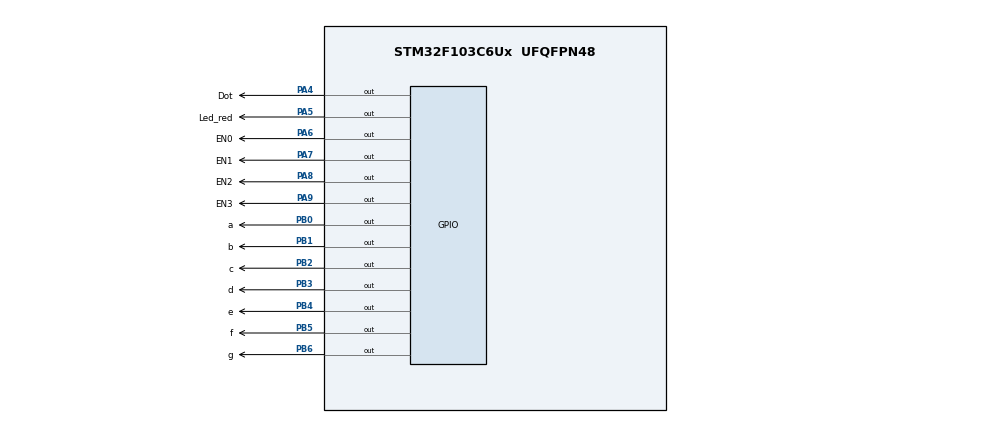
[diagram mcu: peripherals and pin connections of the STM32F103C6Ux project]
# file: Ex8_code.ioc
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Mcu.Family=STM32F1
Mcu.Name=STM32F103C6Ux
Mcu.Package=UFQFPN48
NVIC.PriorityGroup=NVIC_PRIORITYGROUP_4
NVIC.TIM2_IRQn=true\:0\:0\:false\:false\:true\:true\:true
PA4.GPIO_Label=Dot
PA4.Signal=GPIO_Output
PA5.GPIO_Label=Led_red
PA5.Signal=GPIO_Output
PA6.GPIO_Label=EN0
PA6.Signal=GPIO_Output
PA7.GPIO_Label=EN1
PA7.Signal=GPIO_Output
PA8.GPIO_Label=EN2
PA8.Signal=GPIO_Output
PA9.GPIO_Label=EN3
PA9.Signal=GPIO_Output
PB0.GPIO_Label=a
PB0.Signal=GPIO_Output
PB1.GPIO_Label=b
PB1.Signal=GPIO_Output
PB2.GPIO_Label=c
PB2.Signal=GPIO_Output
PB3.GPIO_Label=d
PB3.Signal=GPIO_Output
PB4.GPIO_Label=e
PB4.Signal=GPIO_Output
PB5.GPIO_Label=f
PB5.Signal=GPIO_Output
PB6.GPIO_Label=g
PB6.Signal=GPIO_Output
ProjectManager.HeapSize=0x200
ProjectManager.StackSize=0x400
ProjectManager.TargetToolchain=STM32CubeIDE
RCC.APB1Freq_Value=8000000
RCC.APB2Freq_Value=8000000
TIM2.Prescaler=7999
VP_SYS_VS_ND.Mode=No_Debug
VP_TIM2_VS_ClockSourceINT.Mode=Internal
board=custom

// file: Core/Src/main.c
/* USER CODE BEGIN Header */
/**
  ******************************************************************************
  * @file           : main.c
  * @brief          : Main program body
  ******************************************************************************
  * @attention
  *
  * <h2><center>&copy; Copyright (c) 2025 STMicroelectronics.
  * All rights reserved.</center></h2>
  *
  * This software component is licensed by ST under BSD 3-Clause license,
  * the "License"; You may not use this file except in compliance with the
  * License. You may obtain a copy of the License at:
  *                        opensource.org/licenses/BSD-3-Clause
  *
  ******************************************************************************
  */
/* USER CODE END Header */
#include "main.h"

TIM_HandleTypeDef htim2;

void SystemClock_Config(void);
static void MX_GPIO_Init(void);
static void MX_TIM2_Init(void);
/* USER CODE BEGIN 0 */
int timer0_counter = 0;
int timer0_flag = 0;
int TIMER_CYCLE = 10; // đơn vị: ms (chu kỳ của ngắt timer)
int timer1_counter = 0;
int timer1_flag = 0;
void setTimer0(int duration){
    timer0_counter = duration / TIMER_CYCLE;
    timer0_flag = 0;
}
void setTimer1(int duration){
    timer1_counter = duration / TIMER_CYCLE;
    timer1_flag = 0;
}

void timer_run(){
    if(timer0_counter > 0){
        timer0_counter--;
        if(timer0_counter == 0) timer0_flag = 1;
    }
    if(timer1_counter > 0){
            timer1_counter--;
            if(timer1_counter == 0) timer1_flag = 1;
    }
}
/* USER CODE END 0 */

const int MAX_LED = 4;
int index_led = 0;
int led_buffer[4];
void update7SEG(int index) {
    switch (index) {
        case 0:
        	HAL_GPIO_WritePin(EN0_GPIO_Port, EN0_Pin, GPIO_PIN_RESET);
        	HAL_GPIO_WritePin(EN1_GPIO_Port, EN1_Pin, GPIO_PIN_SET);
        	HAL_GPIO_WritePin(EN2_GPIO_Port, EN2_Pin, GPIO_PIN_SET);
        	HAL_GPIO_WritePin(EN3_GPIO_Port, EN3_Pin, GPIO_PIN_SET);
        	display7SEG(led_buffer[0]);
            break;

        case 1:
            // Display the second 7SEG with led_buffer[1]
        	HAL_GPIO_WritePin(EN0_GPIO_Port, EN0_Pin, GPIO_PIN_SET);
        	HAL_GPIO_WritePin(EN1_GPIO_Port, EN1_Pin, GPIO_PIN_RESET);
        	HAL_GPIO_WritePin(EN2_GPIO_Port, EN2_Pin, GPIO_PIN_SET);
        	HAL_GPIO_WritePin(EN3_GPIO_Port, EN3_Pin, GPIO_PIN_SET);
        	display7SEG(led_buffer[1]);
            break;

        case 2:
            // Display the third 7SEG with led_buffer[2]
        	HAL_GPIO_WritePin(EN0_GPIO_Port, EN0_Pin, GPIO_PIN_SET);
        	HAL_GPIO_WritePin(EN1_GPIO_Port, EN1_Pin, GPIO_PIN_SET);
        	HAL_GPIO_WritePin(EN2_GPIO_Port, EN2_Pin, GPIO_PIN_RESET);
        	HAL_GPIO_WritePin(EN3_GPIO_Port, EN3_Pin, GPIO_PIN_SET);
        	display7SEG(led_buffer[2]);
            break;

        case 3:
            // Display the fourth 7SEG with led_buffer[3]
        	HAL_GPIO_WritePin(EN0_GPIO_Port, EN0_Pin, GPIO_PIN_SET);
        	HAL_GPIO_WritePin(EN1_GPIO_Port, EN1_Pin, GPIO_PIN_SET);
        	HAL_GPIO_WritePin(EN2_GPIO_Port, EN2_Pin, GPIO_PIN_SET);
        	HAL_GPIO_WritePin(EN3_GPIO_Port, EN3_Pin, GPIO_PIN_RESET);
        	display7SEG(led_buffer[3]);
            break;

        default:
            break;
    }
}
void display7SEG(uint8_t num)
{
    // Tắt hết trước
    HAL_GPIO_WritePin(a_GPIO_Port, a_Pin, GPIO_PIN_SET);
    HAL_GPIO_WritePin(b_GPIO_Port, b_Pin, GPIO_PIN_SET);
    HAL_GPIO_WritePin(c_GPIO_Port, c_Pin, GPIO_PIN_SET);
    HAL_GPIO_WritePin(d_GPIO_Port, d_Pin, GPIO_PIN_SET);
    HAL_GPIO_WritePin(e_GPIO_Port, e_Pin, GPIO_PIN_SET);
    HAL_GPIO_WritePin(f_GPIO_Port, f_Pin, GPIO_PIN_SET);
    HAL_GPIO_WritePin(g_GPIO_Port, g_Pin, GPIO_PIN_SET);

    switch(num)
        {
    		case 0:
                HAL_GPIO_WritePin(a_GPIO_Port, a_Pin, GPIO_PIN_RESET);
                HAL_GPIO_WritePin(b_GPIO_Port, b_Pin, GPIO_PIN_RESET);
                HAL_GPIO_WritePin(d_GPIO_Port, d_Pin, GPIO_PIN_RESET);
                HAL_GPIO_WritePin(e_GPIO_Port, e_Pin, GPIO_PIN_RESET);
                HAL_GPIO_WritePin(g_GPIO_Port, g_Pin, GPIO_PIN_SET);
                HAL_GPIO_WritePin(f_GPIO_Port, f_Pin, GPIO_PIN_RESET);
                HAL_GPIO_WritePin(c_GPIO_Port, c_Pin, GPIO_PIN_RESET);
                break;
    		case 1:
				HAL_GPIO_WritePin(b_GPIO_Port, b_Pin, GPIO_PIN_RESET);
				HAL_GPIO_WritePin(c_GPIO_Port, c_Pin, GPIO_PIN_RESET);
				break;
            case 2:
                HAL_GPIO_WritePin(a_GPIO_Port, a_Pin, GPIO_PIN_RESET);
                HAL_GPIO_WritePin(b_GPIO_Port, b_Pin, GPIO_PIN_RESET);
                HAL_GPIO_WritePin(d_GPIO_Port, d_Pin, GPIO_PIN_RESET);
                HAL_GPIO_WritePin(e_GPIO_Port, e_Pin, GPIO_PIN_RESET);
                HAL_GPIO_WritePin(g_GPIO_Port, g_Pin, GPIO_PIN_RESET);
                HAL_GPIO_WritePin(f_GPIO_Port, f_Pin, GPIO_PIN_SET);
                HAL_GPIO_WritePin(c_GPIO_Port, c_Pin, GPIO_PIN_SET);
                break;
            case 3:
            	HAL_GPIO_WritePin(a_GPIO_Port, a_Pin, GPIO_PIN_RESET);
				HAL_GPIO_WritePin(b_GPIO_Port, b_Pin, GPIO_PIN_RESET);
				HAL_GPIO_WritePin(d_GPIO_Port, d_Pin, GPIO_PIN_RESET);
				HAL_GPIO_WritePin(c_GPIO_Port, c_Pin, GPIO_PIN_RESET);
				HAL_GPIO_WritePin(g_GPIO_Port, g_Pin, GPIO_PIN_RESET);
				HAL_GPIO_WritePin(f_GPIO_Port, f_Pin, GPIO_PIN_SET);
				break;
            case 4:
				HAL_GPIO_WritePin(b_GPIO_Port, b_Pin, GPIO_PIN_RESET);
				HAL_GPIO_WritePin(c_GPIO_Port, c_Pin, GPIO_PIN_RESET);
				HAL_GPIO_WritePin(g_GPIO_Port, g_Pin, GPIO_PIN_RESET);
				HAL_GPIO_WritePin(f_GPIO_Port, f_Pin, GPIO_PIN_RESET);
				break;
            case 5:
            	HAL_GPIO_WritePin(a_GPIO_Port, a_Pin, GPIO_PIN_RESET);
				HAL_GPIO_WritePin(c_GPIO_Port, c_Pin, GPIO_PIN_RESET);
				HAL_GPIO_WritePin(g_GPIO_Port, g_Pin, GPIO_PIN_RESET);
				HAL_GPIO_WritePin(f_GPIO_Port, f_Pin, GPIO_PIN_RESET);
				HAL_GPIO_WritePin(d_GPIO_Port, d_Pin, GPIO_PIN_RESET);
            	break;
            case 6:
            	HAL_GPIO_WritePin(a_GPIO_Port, a_Pin, GPIO_PIN_RESET);
				HAL_GPIO_WritePin(c_GPIO_Port, c_Pin, GPIO_PIN_RESET);
				HAL_GPIO_WritePin(g_GPIO_Port, g_Pin, GPIO_PIN_RESET);
				HAL_GPIO_WritePin(f_GPIO_Port, f_Pin, GPIO_PIN_RESET);
				HAL_GPIO_WritePin(d_GPIO_Port, d_Pin, GPIO_PIN_RESET);
				HAL_GPIO_WritePin(e_GPIO_Port, e_Pin, GPIO_PIN_RESET);
            	break;
            case 7:
            	HAL_GPIO_WritePin(a_GPIO_Port, a_Pin, GPIO_PIN_RESET);
            	HAL_GPIO_WritePin(c_GPIO_Port, c_Pin, GPIO_PIN_RESET);
            	HAL_GPIO_WritePin(b_GPIO_Port, b_Pin, GPIO_PIN_RESET);
            	break;
            case 8:
            	HAL_GPIO_WritePin(a_GPIO_Port, a_Pin, GPIO_PIN_RESET);
				HAL_GPIO_WritePin(b_GPIO_Port, b_Pin, GPIO_PIN_RESET);
				HAL_GPIO_WritePin(d_GPIO_Port, d_Pin, GPIO_PIN_RESET);
				HAL_GPIO_WritePin(e_GPIO_Port, e_Pin, GPIO_PIN_RESET);
				HAL_GPIO_WritePin(g_GPIO_Port, g_Pin, GPIO_PIN_RESET);
				HAL_GPIO_WritePin(f_GPIO_Port, f_Pin, GPIO_PIN_RESET);
				HAL_GPIO_WritePin(c_GPIO_Port, c_Pin, GPIO_PIN_RESET);
            	break;
            case 9:
            	HAL_GPIO_WritePin(a_GPIO_Port, a_Pin, GPIO_PIN_RESET);
				HAL_GPIO_WritePin(b_GPIO_Port, b_Pin, GPIO_PIN_RESET);
				HAL_GPIO_WritePin(d_GPIO_Port, d_Pin, GPIO_PIN_RESET);
				HAL_GPIO_WritePin(e_GPIO_Port, e_Pin, GPIO_PIN_SET);
				HAL_GPIO_WritePin(g_GPIO_Port, g_Pin, GPIO_PIN_RESET);
				HAL_GPIO_WritePin(f_GPIO_Port, f_Pin, GPIO_PIN_RESET);
				HAL_GPIO_WritePin(c_GPIO_Port, c_Pin, GPIO_PIN_RESET);
            	break;
            default:
                // Hiển thị gạch ngang "-"
                HAL_GPIO_WritePin(g_GPIO_Port, g_Pin, GPIO_PIN_RESET);
                break;
        }
}
int index = 0;
void updateClockBuffer(int hour, int minute)
{
	led_buffer[0] = hour / 10;     // Hàng chục của giờ
	led_buffer[1] = hour % 10;     // Hàng đơn vị của giờ
	led_buffer[2] = minute / 10;   // Hàng chục của phút
	led_buffer[3] = minute % 10;   // Hàng đơn vị của phút
}
void HAL_TIM_PeriodElapsedCallback(TIM_HandleTypeDef *htim)
{
timer_run();
//YOUR OTHER CODE
}

int main(void)
{

  /* MCU Configuration--------------------------------------------------------*/

  /* Reset of all peripherals, Initializes the Flash interface and the Systick. */
  HAL_Init();

  /* Configure the system clock */
  SystemClock_Config();

  /* Initialize all configured peripherals */
  MX_GPIO_Init();
  MX_TIM2_Init();
  /* USER CODE BEGIN 2 */
  HAL_TIM_Base_Start_IT(&htim2);
  /* USER CODE END 2 */

  /* Infinite loop */
  /* USER CODE BEGIN WHILE */
  setTimer0(1000); // khởi động software timer 1 giây
  setTimer1(1000);
  int hour = 15, minute = 8, second = 50;
  while (1) {
          if (timer0_flag == 1) {
              HAL_GPIO_TogglePin(Dot_GPIO_Port, Dot_Pin);
              setTimer0(1000); // đặt lại để nháy tiếp
          }
          if (timer1_flag == 1) {
        	  second++;
        	        if (second >= 60) {
        	            second = 0;
        	            minute++;
        	        }
        	        if (minute >= 60) {
        	            minute = 0;
        	            hour++;
        	        }
        	        if (hour >= 24) {
        	            hour = 0;
        	        }
        	        updateClockBuffer(hour, minute);
        	    	update7SEG(index++);
        	    	if(index >3) index = 0;
        	        setTimer1(250);
          }
  }
  /* USER CODE END 3 */
}

void SystemClock_Config(void)
{
  RCC_OscInitTypeDef RCC_OscInitStruct = {0};
  RCC_ClkInitTypeDef RCC_ClkInitStruct = {0};

  /** Initializes the RCC Oscillators according to the specified parameters
  * in the RCC_OscInitTypeDef structure.
  */
  RCC_OscInitStruct.OscillatorType = RCC_OSCILLATORTYPE_HSI;
  RCC_OscInitStruct.HSIState = RCC_HSI_ON;
  RCC_OscInitStruct.HSICalibrationValue = RCC_HSICALIBRATION_DEFAULT;
  RCC_OscInitStruct.PLL.PLLState = RCC_PLL_NONE;
  if (HAL_RCC_OscConfig(&RCC_OscInitStruct) != HAL_OK)
  {
    Error_Handler();
  }
  /** Initializes the CPU, AHB and APB buses clocks
  */
  RCC_ClkInitStruct.ClockType = RCC_CLOCKTYPE_HCLK|RCC_CLOCKTYPE_SYSCLK
                              |RCC_CLOCKTYPE_PCLK1|RCC_CLOCKTYPE_PCLK2;
  RCC_ClkInitStruct.SYSCLKSource = RCC_SYSCLKSOURCE_HSI;
  RCC_ClkInitStruct.AHBCLKDivider = RCC_SYSCLK_DIV1;
  RCC_ClkInitStruct.APB1CLKDivider = RCC_HCLK_DIV1;
  RCC_ClkInitStruct.APB2CLKDivider = RCC_HCLK_DIV1;

  if (HAL_RCC_ClockConfig(&RCC_ClkInitStruct, FLASH_LATENCY_0) != HAL_OK)
  {
    Error_Handler();
  }
}

static void MX_TIM2_Init(void)
{

  TIM_ClockConfigTypeDef sClockSourceConfig = {0};
  TIM_MasterConfigTypeDef sMasterConfig = {0};

  htim2.Instance = TIM2;
  htim2.Init.Prescaler = 7999;
  htim2.Init.CounterMode = TIM_COUNTERMODE_UP;
  htim2.Init.Period = 9;
  htim2.Init.ClockDivision = TIM_CLOCKDIVISION_DIV1;
  htim2.Init.AutoReloadPreload = TIM_AUTORELOAD_PRELOAD_DISABLE;
  if (HAL_TIM_Base_Init(&htim2) != HAL_OK)
  {
    Error_Handler();
  }
  sClockSourceConfig.ClockSource = TIM_CLOCKSOURCE_INTERNAL;
  if (HAL_TIM_ConfigClockSource(&htim2, &sClockSourceConfig) != HAL_OK)
  {
    Error_Handler();
  }
  sMasterConfig.MasterOutputTrigger = TIM_TRGO_RESET;
  sMasterConfig.MasterSlaveMode = TIM_MASTERSLAVEMODE_DISABLE;
  if (HAL_TIMEx_MasterConfigSynchronization(&htim2, &sMasterConfig) != HAL_OK)
  {
    Error_Handler();
  }

}

static void MX_GPIO_Init(void)
{
  GPIO_InitTypeDef GPIO_InitStruct = {0};

  /* GPIO Ports Clock Enable */
  __HAL_RCC_GPIOA_CLK_ENABLE();
  __HAL_RCC_GPIOB_CLK_ENABLE();

  /*Configure GPIO pin Output Level */
  HAL_GPIO_WritePin(GPIOA, Dot_Pin|Led_red_Pin|EN0_Pin|EN1_Pin
                          |EN2_Pin|EN3_Pin, GPIO_PIN_RESET);

  /*Configure GPIO pin Output Level */
  HAL_GPIO_WritePin(GPIOB, a_Pin|b_Pin|c_Pin|d_Pin
                          |e_Pin|f_Pin|g_Pin, GPIO_PIN_SET);

  /*Configure GPIO pins : Dot_Pin Led_red_Pin EN0_Pin EN1_Pin
                           EN2_Pin EN3_Pin */
  GPIO_InitStruct.Pin = Dot_Pin|Led_red_Pin|EN0_Pin|EN1_Pin
                          |EN2_Pin|EN3_Pin;
  GPIO_InitStruct.Mode = GPIO_MODE_OUTPUT_PP;
  GPIO_InitStruct.Pull = GPIO_NOPULL;
  GPIO_InitStruct.Speed = GPIO_SPEED_FREQ_LOW;
  HAL_GPIO_Init(GPIOA, &GPIO_InitStruct);

  /*Configure GPIO pins : a_Pin b_Pin c_Pin d_Pin
                           e_Pin f_Pin g_Pin */
  GPIO_InitStruct.Pin = a_Pin|b_Pin|c_Pin|d_Pin
                          |e_Pin|f_Pin|g_Pin;
  GPIO_InitStruct.Mode = GPIO_MODE_OUTPUT_PP;
  GPIO_InitStruct.Pull = GPIO_NOPULL;
  GPIO_InitStruct.Speed = GPIO_SPEED_FREQ_LOW;
  HAL_GPIO_Init(GPIOB, &GPIO_InitStruct);

}

void Error_Handler(void)
{
  __disable_irq();
  while (1)
  {
  }
}

/************************ (C) COPYRIGHT STMicroelectronics *****END OF FILE****/
